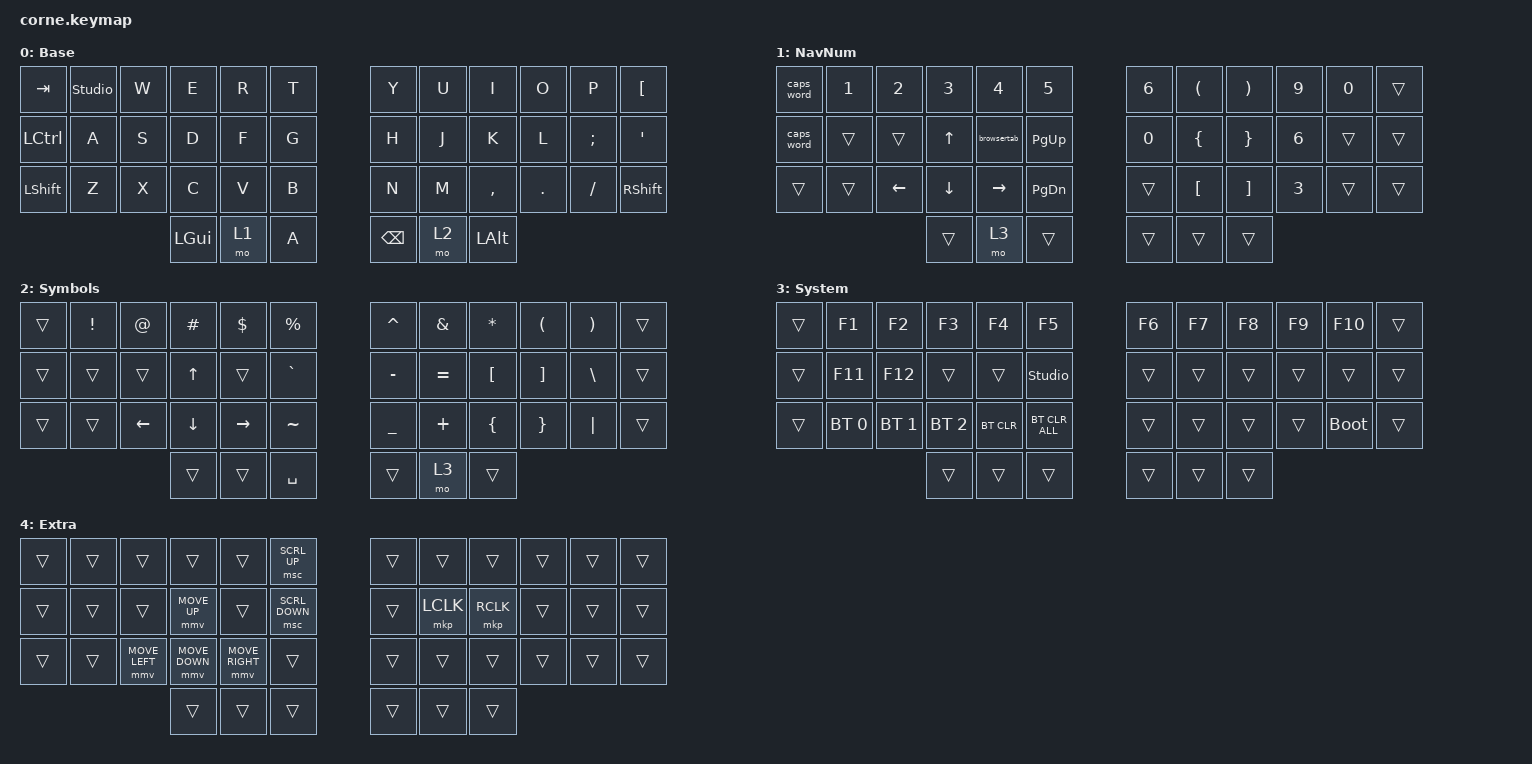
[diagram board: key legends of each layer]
#include <behaviors.dtsi>
#include <dt-bindings/zmk/bt.h>
#include <dt-bindings/zmk/keys.h>
#include <dt-bindings/zmk/pointing.h>

#define DEF 0
#define NAV 1
#define SYM 2
#define ADJ 3
#define EXTRA 4

/ {
    behaviors {
        hm: homerow_mods {
            compatible = "zmk,behavior-hold-tap";
            #binding-cells = <2>;
            tapping-term-ms = <200>;
            flavor = "tap-preferred";
            bindings = <&kp>, <&kp>;

            quick-tap-ms = <180>;
            require-prior-idle-ms = <120>; /* tune to taste */
        };

        para: para {
            compatible = "zmk,behavior-tap-dance";
            #binding-cells = <0>;
            bindings = <&kp LEFT_PARENTHESIS>, <&kp RIGHT_PARENTHESIS>;
        };

        caps: caps {
            compatible = "zmk,behavior-caps-word";
            #binding-cells = <0>;
            continue-list = <MINUS BACKSPACE>;
        };

        paraless: paraless {
            compatible = "zmk,behavior-mod-morph";
            bindings = <&kp LEFT_PARENTHESIS>, <&kp LESS_THAN>;

            #binding-cells = <0>;
            mods = <(MOD_LSFT)>;
        };

        paragreat: paragreat {
            compatible = "zmk,behavior-mod-morph";
            bindings = <&kp RIGHT_PARENTHESIS>, <&kp GREATER_THAN>;

            #binding-cells = <0>;
            mods = <(MOD_LSFT)>;
        };
    };

    macros {
        browsertab: browsertab {
            compatible = "zmk,behavior-macro";
            #binding-cells = <0>;
            bindings =
                <&macro_press>,
                <&kp LCTRL>,
                <&macro_tap>,
                <&kp TAB>,
                <&macro_release>,
                <&kp LCTRL>;
        };
    };

    combos {
        compatible = "zmk,combos";

        escape {
            bindings = <&kp ESCAPE>;
            key-positions = <15 16>;
        };

        studio_unlock {
            bindings = <&studio_unlock>;
            key-positions = <36 37>;
        };
    };

    //

    keymap {
        compatible = "zmk,keymap";

        DEF {
            display-name = "Base";

            // -----------------------------------------------------------------------------------------
            // |  Q  |  W  |  E  |  R  |  T  |   |  Y  |  U   |  I  |  O  |  P  |
            // |  A  |  S  |  D  |  F  |  G  |   |  H  |  J   |  K  |  L  |  ;  |
            // |  Z  |  X  |  C  |  V  |  B  |   |  N  |  M   |  ,  |  .  |  /  |
            // | GUI | CTRL | SHFT | LWR | SPC |   | ENT | RSE  | BKSP | ALT | ESC |

            bindings = <
&kp TAB     &studio_unlock  &kp W  &kp E     &kp R  &kp T    &kp Y          &kp U  &kp I         &kp O    &kp P     &kp LEFT_BRACKET
&kp LCTRL   &kp A           &kp S  &kp D     &kp F  &kp G    &kp H          &kp J  &kp K         &kp L    &kp SEMI  &kp SQT
&kp LSHIFT  &kp Z           &kp X  &kp C     &kp V  &kp B    &kp N          &kp M  &kp COMMA     &kp DOT  &kp FSLH  &kp RSHIFT
                                   &kp LGUI  &mo 1  &kp A    &kp BACKSPACE  &mo 2  &kp LEFT_ALT
            >;
        };

        NAV {
            display-name = "NavNum";

            // -----------------------------------------------------------------------------------------
            // |  TAB |  1  |  2  |  3  |  4  |  5  |   |  6  |  7  |  8  |  9  |  0  | BKSP |
            // | BTCLR| BT1 | BT2 | BT3 | BT4 | BT5 |   | LFT | DWN |  UP | RGT |     |      |
            // | SHFT |     |     |     |     |     |   |     |     |     |     |     |      |
            // | GUI | CTRL | SHFT | LWR | SPC |   | ENT | RSE  | BKSP | ALT | ESC |

            bindings = <
&caps_word  &kp N1  &kp N2    &kp N3        &kp N4           &kp N5           &kp N6  &kp LEFT_PARENTHESIS  &kp RIGHT_PARENTHESIS  &kp N9  &kp N0  &trans
&caps_word  &trans  &trans    &kp UP_ARROW  &browsertab      &kp PAGE_UP      &kp N0  &kp LEFT_BRACE        &kp RIGHT_BRACE        &kp N6  &trans  &trans
&trans      &trans  &kp LEFT  &kp DOWN      &kp RIGHT_ARROW  &kp PAGE_DOWN    &trans  &kp LEFT_BRACKET      &kp RIGHT_BRACKET      &kp N3  &trans  &trans
                              &trans        &mo 3            &trans           &trans  &trans                &trans
            >;
        };

        SYM {
            display-name = "Symbols";

            // -----------------------------------------------------------------------------------------
            // |  TAB |  !  |  @  |  #  |  $  |  %  |   |  ^  |  &  |  *  |  (  |  )  | BKSP |
            // | CTRL |     |     |     |     |     |   |  -  |  =  |  [  |  ]  |  \  |  `   |
            // | SHFT |     |     |     |     |     |   |  _  |  +  |  {  |  }  | "|" |  ~   |
            //                    | GUI |     | SPC |   | ENT |     | ALT |

            bindings = <
&trans  &kp EXCL  &kp AT          &kp HASH        &kp DLLR         &kp PRCNT    &kp CARET  &kp AMPS   &kp ASTRK  &kp LEFT_PARENTHESIS  &kp RPAR  &trans
&trans  &trans    &trans          &kp UP_ARROW    &trans           &kp GRAVE    &kp MINUS  &kp EQUAL  &kp LBKT   &kp RBKT              &kp BSLH  &trans
&trans  &trans    &kp LEFT_ARROW  &kp DOWN_ARROW  &kp RIGHT_ARROW  &kp TILDE    &kp UNDER  &kp PLUS   &kp LBRC   &kp RBRC              &kp PIPE  &trans
                                  &trans          &trans           &kp SPACE    &trans     &mo 3      &trans
            >;
        };

        ADJ {
            display-name = "System";
            bindings = <
&trans  &kp F1        &kp F2        &kp F3        &kp F4      &kp F5            &kp F6  &kp F7  &kp F8  &kp F9  &kp F10      &trans
&trans  &kp F11       &kp F12       &trans        &trans      &studio_unlock    &trans  &trans  &trans  &trans  &trans       &trans
&trans  &bt BT_SEL 0  &bt BT_SEL 1  &bt BT_SEL 2  &bt BT_CLR  &bt BT_CLR_ALL    &trans  &trans  &trans  &trans  &bootloader  &trans
                                    &trans        &trans      &trans            &trans  &trans  &trans
            >;
        };

        EXTRA {
            display-name = "Extra";
            bindings = <
&trans  &trans  &trans          &trans          &trans           &msc SCRL_UP      &trans  &trans     &trans     &trans  &trans  &trans
&trans  &trans  &trans          &mmv MOVE_UP    &trans           &msc SCRL_DOWN    &trans  &mkp LCLK  &mkp RCLK  &trans  &trans  &trans
&trans  &trans  &mmv MOVE_LEFT  &mmv MOVE_DOWN  &mmv MOVE_RIGHT  &trans            &trans  &trans     &trans     &trans  &trans  &trans
                                &trans          &trans           &trans            &trans  &trans     &trans
            >;
        };
    };
};
